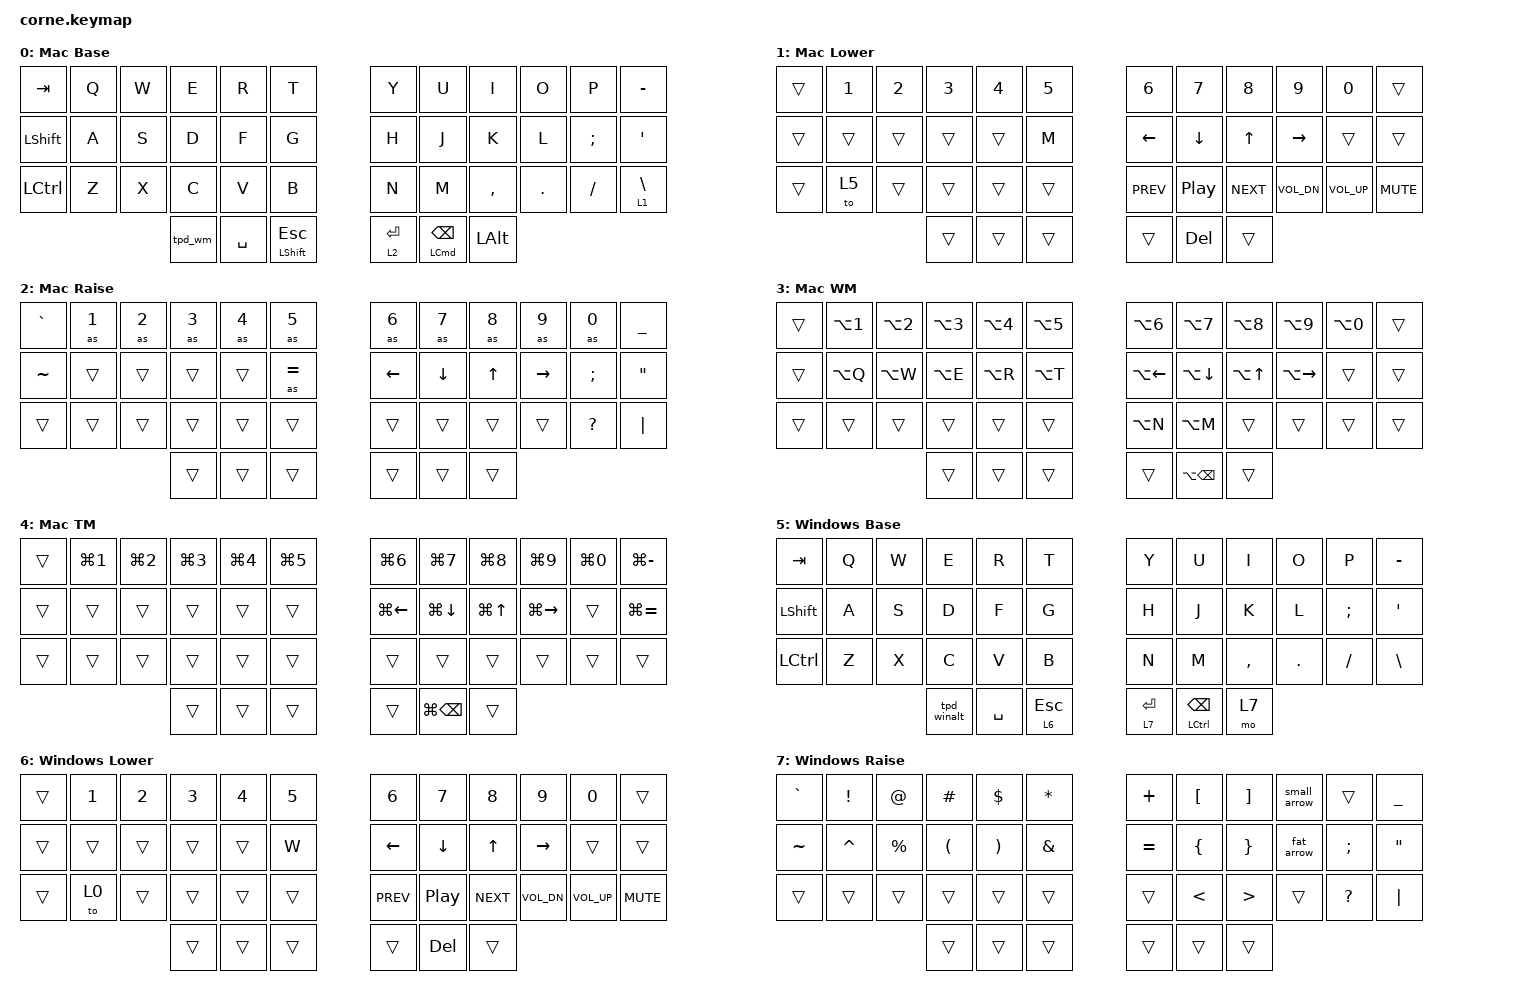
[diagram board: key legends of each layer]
/*
 * Copyright (c) 2020 The ZMK Contributors
 *
 * SPDX-License-Identifier: MIT
 */

#include <behaviors.dtsi>
#include <dt-bindings/zmk/keys.h>

/ {
    combos {
        compatible = "zmk,combos";

        esc_windows {
            bindings = <&kp ESC>;
            key-positions = <1 0>;
            layers = <5>;
        };

        win_windows {
            bindings = <&kp LWIN>;
            key-positions = <29 28>;
            layers = <5>;
        };

        win_enter {
            bindings = <&kp ENTER>;
            key-positions = <22 23>;
            layers = <5>;
        };

        win_bksp {
            bindings = <&kp BACKSPACE>;
            key-positions = <10 11>;
            layers = <5>;
        };

        windows_screenshot {
            bindings = <&kp LG(LS(S))>;
            key-positions = <16 15 14 13>;
            layers = <5>;
        };

        mac_screenshot {
            bindings = <&kp LG(LS(NUMBER_4))>;
            key-positions = <13 14 15 16>;
            layers = <0>;
        };

        l_curly {
            bindings = <&kp LEFT_BRACE>;
            key-positions = <19 20>;
        };

        r_curly {
            bindings = <&kp RIGHT_BRACE>;
            key-positions = <20 21>;
        };

        l_square {
            bindings = <&kp LEFT_BRACKET>;
            key-positions = <7 8>;
        };

        r_square {
            bindings = <&kp RIGHT_BRACKET>;
            key-positions = <8 9>;
        };

        l_angle {
            bindings = <&kp LESS_THAN>;
            key-positions = <31 32>;
        };

        r_angle {
            bindings = <&kp GT>;
            key-positions = <32 33>;
        };

        l_par {
            bindings = <&kp LEFT_PARENTHESIS>;
            key-positions = <15 16>;
        };

        r_par {
            bindings = <&kp RPAR>;
            key-positions = <16 17>;
        };
    };

    behaviors {
        tpd_wm: tpd_wm {
            compatible = "zmk,behavior-tap-dance";
            label = "TPD_WM";
            #binding-cells = <0>;
            bindings = <&mo 3>, <&mo 4>, <&mo 4>;
        };

        tpd_winalt: tpd_winalt {
            compatible = "zmk,behavior-tap-dance";
            label = "TPD_WINALT";
            #binding-cells = <0>;
            bindings = <&kp LEFT_ALT>, <&kp LEFT_WIN>, <&kp LEFT_WIN>;
        };

        as_ht: autoshift_hold_tap {
            compatible = "zmk,behavior-hold-tap";
            label = "AUTOSHIFT_HOLD_TAP";
            #binding-cells = <2>;
            tapping-term-ms = <135>;
            flavor = "tap-preferred";
            bindings = <&shifted>, <&kp>;
        };
    };

    macros {
        fat_arrow: fat_arrow {
            compatible = "zmk,behavior-macro";
            #binding-cells = <0>;
            bindings = <&kp EQUAL &kp GT>;
            label = "FAT_ARROW";
        };

        small_arrow: small_arrow {
            compatible = "zmk,behavior-macro";
            #binding-cells = <0>;
            bindings = <&kp MINUS &kp GT>;
            label = "SMALL_ARROW";
        };

        shifted: macro_shifted_kp {
            #binding-cells = <1>;
            label = "MACRO_SHIFTED_KP";
            compatible = "zmk,behavior-macro-one-param";
            bindings =
                <&macro_press>,
                <&kp LSHFT &macro_param_1to1>,
                <&macro_tap>,
                <&kp MACRO_PLACEHOLDER>,
                <&macro_release>,
                <&kp LSHFT>;
        };

        as: autoshift {
            compatible = "zmk,behavior-macro-one-param";
            #binding-cells = <1>;
            label = "AUTOSHIFT_KP";
            bindings =
                <&macro_press>,
                <&macro_param_1to1 &macro_param_1to2 &as_ht MACRO_PLACEHOLDER MACRO_PLACEHOLDER>,
                <&macro_pause_for_release>,
                <&macro_release>,
                <&macro_param_1to1 &macro_param_1to2 &as_ht MACRO_PLACEHOLDER MACRO_PLACEHOLDER>;
        };
    };

    keymap {
        compatible = "zmk,keymap";

        mac_base {
            // -----------------------------------------------------------------------------------------
            // |  TAB |  Q  |  W  |  E  |  R  |  T  |   |  Y  |  U   |  I  |  O  |  P  | BKSP |
            // | CTRL |  A  |  S  |  D  |  F  |  G  |   |  H  |  J   |  K  |  L  |  ;  |  '   |
            // | SHFT |  Z  |  X  |  C  |  V  |  B  |   |  N  |  M   |  ,  |  .  |  /  | ESC  |
            //                    | GUI | LWR | SPC |   | ENT | RSE  | ALT |

            display-name = "Mac Base";
            bindings = <
&kp TAB         &kp Q  &kp W  &kp E    &kp R      &kp T                 &kp Y        &kp U               &kp I         &kp O    &kp P     &kp MINUS
&kp LEFT_SHIFT  &kp A  &kp S  &kp D    &kp F      &kp G                 &kp H        &kp J               &kp K         &kp L    &kp SEMI  &kp SQT
&kp LCTRL       &kp Z  &kp X  &kp C    &kp V      &kp B                 &kp N        &kp M               &kp COMMA     &kp DOT  &kp FSLH  &lt 1 BACKSLASH
                              &tpd_wm  &kp SPACE  &mt LEFT_SHIFT ESC    &lt 2 ENTER  &mt LCMD BACKSPACE  &kp LEFT_ALT
            >;
        };

        mac_lower {
            bindings = <
&trans  &kp N1  &kp N2  &kp N3  &kp N4  &kp N5    &kp N6      &kp N7    &kp N8      &kp N9        &kp N0        &trans
&trans  &trans  &trans  &trans  &trans  &kp M     &kp LEFT    &kp DOWN  &kp UP      &kp RIGHT     &trans        &trans
&trans  &to 5   &trans  &trans  &trans  &trans    &kp C_PREV  &kp C_PP  &kp C_NEXT  &kp C_VOL_DN  &kp C_VOL_UP  &kp K_MUTE
                        &trans  &trans  &trans    &trans      &kp DEL   &trans
            >;

            label = "Mac Lower";
        };

        mac_raise {
            bindings = <
&kp GRAVE  &as N1  &as N2  &as NUMBER_3  &as NUMBER_4  &as N5       &as NUMBER_6  &as N7    &as N8  &as N9     &as N0         &kp UNDERSCORE
&kp TILDE  &trans  &trans  &trans        &trans        &as EQUAL    &kp LEFT      &kp DOWN  &kp UP  &kp RIGHT  &kp SEMICOLON  &kp DOUBLE_QUOTES
&trans     &trans  &trans  &trans        &trans        &trans       &trans        &trans    &trans  &trans     &kp QUESTION   &kp PIPE
                           &trans        &trans        &trans       &trans        &trans    &trans
            >;

            label = "Mac Raise";
        };

        mac_wm {
            bindings = <
&trans  &kp LA(N1)  &kp LA(N2)  &kp LA(N3)  &kp LA(N4)  &kp LA(N5)    &kp LA(N6)    &kp LA(N7)         &kp LA(N8)  &kp LA(N9)     &kp LA(N0)  &trans
&trans  &kp LA(Q)   &kp LA(W)   &kp LA(E)   &kp LA(R)   &kp LA(T)     &kp LA(LEFT)  &kp LA(DOWN)       &kp LA(UP)  &kp LA(RIGHT)  &trans      &trans
&trans  &trans      &trans      &trans      &trans      &trans        &kp LA(N)     &kp LA(M)          &trans      &trans         &trans      &trans
                                &trans      &trans      &trans        &trans        &kp LA(BACKSPACE)  &trans
            >;

            label = "Mac WM";
        };

        mac_tm {
            bindings = <
&trans  &kp LG(N1)  &kp LG(N2)  &kp LG(N3)  &kp LG(N4)  &kp LG(N5)    &kp LG(N6)    &kp LG(N7)          &kp LG(N8)        &kp LG(N9)     &kp LG(N0)  &kp LG(MINUS)
&trans  &trans      &trans      &trans      &trans      &trans        &kp LG(LEFT)  &kp LG(DOWN_ARROW)  &kp LG(UP_ARROW)  &kp LG(RIGHT)  &trans      &kp LG(EQUAL)
&trans  &trans      &trans      &trans      &trans      &trans        &trans        &trans              &trans            &trans         &trans      &trans
                                &trans      &trans      &trans        &trans        &kp LG(BACKSPACE)   &trans
            >;

            label = "Mac TM";
        };

        windows_base {
            display-name = "Windows Base";
            bindings = <
&kp TAB         &kp Q  &kp W  &kp E        &kp R      &kp T        &kp Y        &kp U                &kp I      &kp O    &kp P     &kp MINUS
&kp LEFT_SHIFT  &kp A  &kp S  &kp D        &kp F      &kp G        &kp H        &kp J                &kp K      &kp L    &kp SEMI  &kp SQT
&kp LCTRL       &kp Z  &kp X  &kp C        &kp V      &kp B        &kp N        &kp M                &kp COMMA  &kp DOT  &kp FSLH  &kp BACKSLASH
                              &tpd_winalt  &kp SPACE  &lt 6 ESC    &lt 7 ENTER  &mt LCTRL BACKSPACE  &mo 7
            >;
        };

        windows_lower {
            bindings = <
&trans  &kp N1  &kp N2  &kp N3  &kp N4  &kp N5    &kp N6      &kp N7    &kp N8      &kp N9        &kp N0        &trans
&trans  &trans  &trans  &trans  &trans  &kp W     &kp LEFT    &kp DOWN  &kp UP      &kp RIGHT     &trans        &trans
&trans  &to 0   &trans  &trans  &trans  &trans    &kp C_PREV  &kp C_PP  &kp C_NEXT  &kp C_VOL_DN  &kp C_VOL_UP  &kp K_MUTE
                        &trans  &trans  &trans    &trans      &kp DEL   &trans
            >;

            label = "Windows Lower";
        };

        windows_raise {
            bindings = <
&kp GRAVE  &kp EXCL   &kp AT       &kp HASH              &kp DOLLAR             &kp ASTERISK     &kp PLUS   &kp LBKT        &kp RBKT         &small_arrow  &trans         &kp UNDERSCORE
&kp TILDE  &kp CARET  &kp PERCENT  &kp LEFT_PARENTHESIS  &kp RIGHT_PARENTHESIS  &kp AMPERSAND    &kp EQUAL  &kp LEFT_BRACE  &kp RIGHT_BRACE  &fat_arrow    &kp SEMICOLON  &kp DOUBLE_QUOTES
&trans     &trans     &trans       &trans                &trans                 &trans           &trans     &kp LT          &kp GT           &trans        &kp QUESTION   &kp PIPE
                                   &trans                &trans                 &trans           &trans     &trans          &trans
            >;

            label = "Windows Raise";
        };
    };
};
